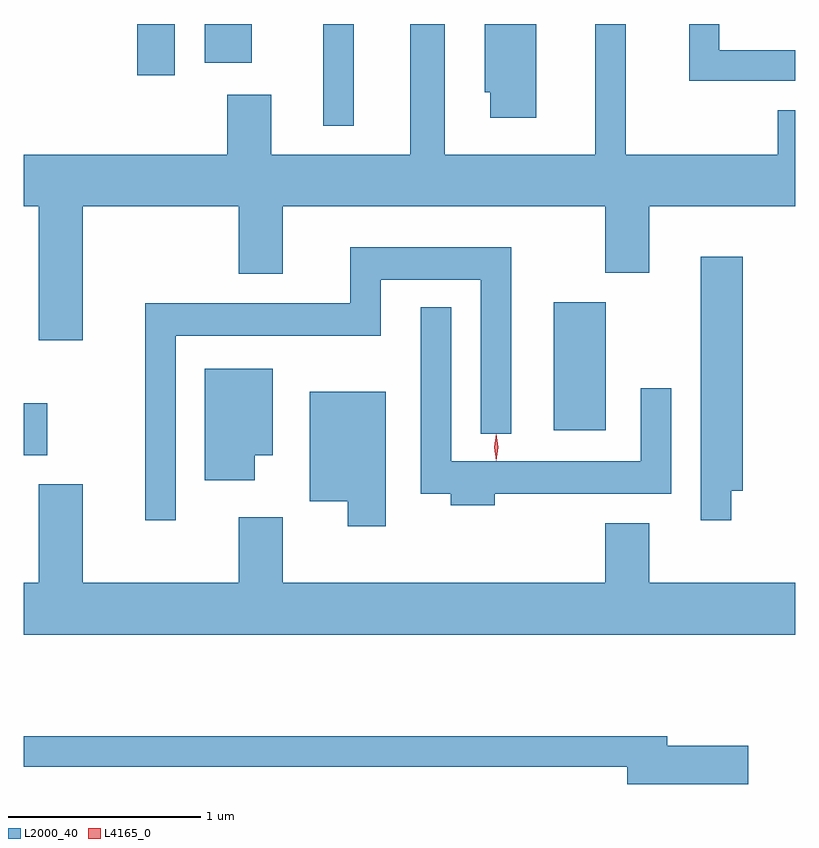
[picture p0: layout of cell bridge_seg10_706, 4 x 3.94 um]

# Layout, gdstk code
import gdstk
lib = gdstk.Library(unit=1e-6, precision=1e-09)
def R(c, l, rs):  # rectangles x0, y0, x1, y1
    for r in rs: c.add(gdstk.rectangle(r[:2], r[2:], *l))
def P(c, l, *ps):  # polygons
    for p in ps: c.add(gdstk.Polygon(p, *l))
L2000_40 = (2000, 40)
L4165_0 = (4165, 0)

bridge_seg10_706 = lib.new_cell('bridge_seg10_706')
R(bridge_seg10_706, L2000_40, [(1035.017,2134.826,1035.139,2135.094), (1037.766,2134.956,1038.034,2135.619), (1036.571,2136.533,1036.729,2137.061), (1035.606,2136.796,1035.799,2137.061), (1035.956,2136.861,1036.199,2137.061)])
P(bridge_seg10_706, L2000_40, [(1039.017,2136.924),(1038.624,2136.924),(1038.624,2137.061),(1038.466,2137.061),(1038.466,2136.766),(1039.017,2136.766)],
  [(1037.674,2137.061),(1037.406,2137.061),(1037.406,2136.706),(1037.436,2136.706),(1037.436,2136.576),(1037.674,2136.576)],
  [(1038.259,2136.116),(1039.017,2136.116),(1039.017,2136.614),(1038.926,2136.614),(1038.926,2136.384),(1038.139,2136.384),(1038.139,2137.061),(1037.981,2137.061),(1037.981,2136.384),(1037.199,2136.384),(1037.199,2137.061),(1037.021,2137.061),(1037.021,2136.384),(1036.299,2136.384),(1036.299,2136.694),(1036.071,2136.694),(1036.071,2136.384),(1035.017,2136.384),(1035.017,2136.116),(1035.096,2136.116),(1035.096,2135.421),(1035.324,2135.421),(1035.324,2136.116),(1036.131,2136.116),(1036.131,2135.766),(1036.359,2135.766),(1036.359,2136.116),(1038.031,2136.116),(1038.031,2135.771),(1038.259,2135.771)],
  [(1035.804,2135.446),(1036.869,2135.446),(1036.869,2135.736),(1037.386,2135.736),(1037.386,2134.938),(1037.544,2134.938),(1037.544,2135.904),(1036.711,2135.904),(1036.711,2135.614),(1035.646,2135.614),(1035.646,2134.488),(1035.804,2134.488)],
  [(1038.684,2134.641),(1038.744,2134.641),(1038.744,2135.854),(1038.526,2135.854),(1038.526,2134.488),(1038.684,2134.488)],
  [(1037.459,2134.626),(1038.374,2134.626),(1038.374,2135.173),(1038.216,2135.173),(1038.216,2134.794),(1037.234,2134.794),(1037.234,2135.593),(1037.076,2135.593),(1037.076,2134.626),(1037.231,2134.626),(1037.231,2134.566),(1037.459,2134.566)],
  [(1036.214,2134.826),(1036.309,2134.826),(1036.309,2135.274),(1035.956,2135.274),(1035.956,2134.696),(1036.214,2134.696)],
  [(1036.894,2135.154),(1036.501,2135.154),(1036.501,2134.586),(1036.696,2134.586),(1036.696,2134.456),(1036.894,2134.456)],
  [(1039.017,2134.164),(1038.259,2134.164),(1038.259,2134.474),(1038.031,2134.474),(1038.031,2134.164),(1036.359,2134.164),(1036.359,2134.504),(1036.131,2134.504),(1036.131,2134.164),(1035.324,2134.164),(1035.324,2134.674),(1035.096,2134.674),(1035.096,2134.164),(1035.017,2134.164),(1035.017,2133.896),(1039.017,2133.896)],
  [(1038.774,2133.319),(1038.354,2133.319),(1038.354,2133.369),(1035.017,2133.369),(1035.017,2133.211),(1038.146,2133.211),(1038.146,2133.121),(1038.774,2133.121)])
P(bridge_seg10_706, L4165_0, [(1037.466,2134.797),(1037.466,2134.798),(1037.456,2134.867),(1037.466,2134.936),(1037.466,2134.936),(1037.467,2134.936),(1037.476,2134.867),(1037.467,2134.798)])

lib.write_gds('bridge_seg10_706.gds')
